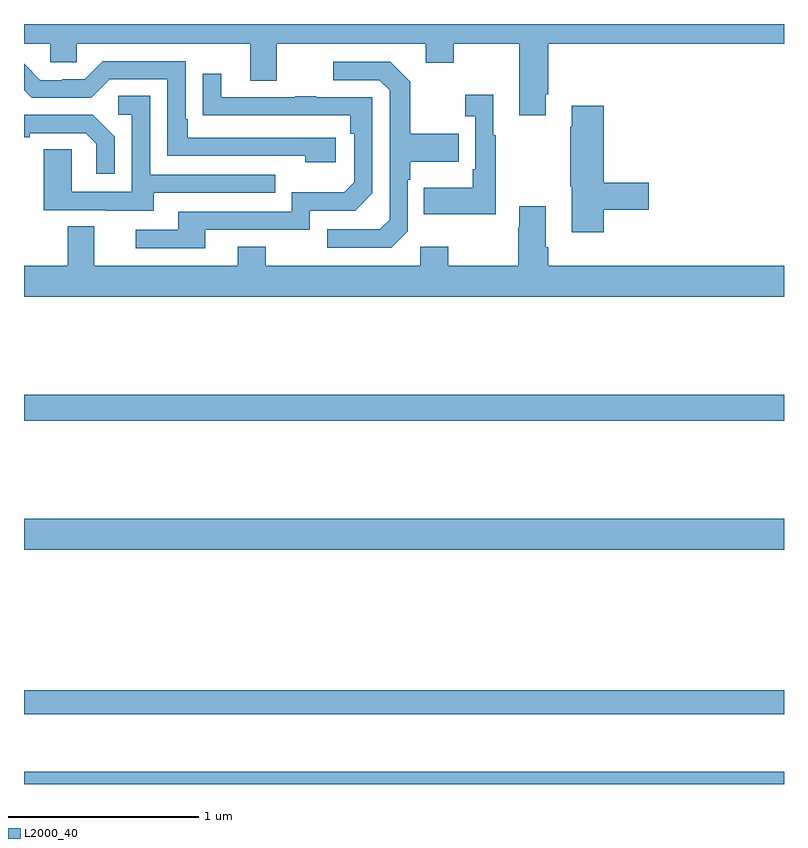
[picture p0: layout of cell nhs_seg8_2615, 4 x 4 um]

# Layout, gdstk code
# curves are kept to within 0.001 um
import gdstk
lib = gdstk.Library(unit=1e-6, precision=1e-09)
def R(c, l, rs):  # rectangles x0, y0, x1, y1
    for r in rs: c.add(gdstk.rectangle(r[:2], r[2:], *l))
def P(c, l, *ps):  # polygons
    for p in ps: c.add(gdstk.Polygon(p, *l))
L2000_40 = (2000, 40)

nhs_seg8_2615 = lib.new_cell('nhs_seg8_2615')
R(nhs_seg8_2615, L2000_40, [(275,1149.9,279,1149.964), (275,1150.266,279,1150.394), (275,1151.132,279,1151.296), (275,1151.812,279,1151.948)])
P(nhs_seg8_2615, L2000_40, [(277.747,1153.531),(277.76,1153.531),(277.76,1153.796),(279,1153.796),(279,1153.9),(275,1153.9),(275,1153.796),(275.139,1153.796),(275.139,1153.698),(275.277,1153.698),(275.277,1153.796),(276.191,1153.796),(276.191,1153.602),(276.331,1153.602),(276.331,1153.796),(277.115,1153.796),(277.115,1153.697),(277.263,1153.697),(277.263,1153.796),(277.607,1153.796),(277.607,1153.419),(277.747,1153.419)],
  [(276.64,1153.302),(275.863,1153.302),(275.863,1153.399),(275.85,1153.399),(275.85,1153.704),(275.415,1153.704),(275.319,1153.608),(275.201,1153.608),(275.201,1153.605),(275.085,1153.605),(275,1153.69),(275,1153.552),(275.04,1153.512),(275.355,1153.512),(275.451,1153.608),(275.754,1153.608),(275.754,1153.206),(276.479,1153.206),(276.479,1153.172),(276.64,1153.172)],
  [(277.02,1152.81),(277.02,1153.079),(277.033,1153.079),(277.033,1153.175),(277.289,1153.175),(277.289,1153.323),(277.033,1153.323),(277.033,1153.595),(276.927,1153.701),(276.627,1153.701),(276.627,1153.605),(276.87,1153.605),(276.924,1153.551),(276.924,1152.87),(276.873,1152.819),(276.597,1152.819),(276.597,1152.723),(276.933,1152.723)],
  [(275.953,1152.816),(276.504,1152.816),(276.504,1152.918),(276.744,1152.918),(276.834,1153.008),(276.834,1153.515),(276.539,1153.515),(276.539,1153.52),(276.427,1153.52),(276.427,1153.515),(276.037,1153.515),(276.037,1153.639),(275.941,1153.639),(275.941,1153.42),(276.718,1153.419),(276.718,1153.322),(276.738,1153.322),(276.738,1153.068),(276.685,1153.015),(276.408,1153.015),(276.408,1152.912),(275.813,1152.912),(275.813,1152.816),(275.589,1152.816),(275.589,1152.72),(275.953,1152.72)],
  [(277.483,1153.315),(277.471,1153.315),(277.471,1153.528),(277.323,1153.528),(277.323,1153.415),(277.374,1153.415),(277.374,1153.135),(277.362,1153.135),(277.362,1153.039),(277.105,1153.039),(277.105,1152.899),(277.483,1152.899)],
  [(275.683,1153.011),(276.323,1153.011),(276.323,1153.107),(275.664,1153.107),(275.664,1153.523),(275.496,1153.523),(275.496,1153.422),(275.568,1153.422),(275.568,1153.017),(275.25,1153.017),(275.25,1153.241),(275.105,1153.241),(275.105,1152.921),(275.429,1152.921),(275.429,1152.917),(275.683,1152.917)],
  [(278.051,1152.922),(278.287,1152.922),(278.287,1153.064),(278.051,1153.064),(278.051,1153.471),(277.883,1153.471),(277.883,1153.358),(277.876,1153.358),(277.876,1153.047),(277.883,1153.047),(277.883,1152.804),(278.051,1152.804)],
  [(275.478,1153.306),(275.362,1153.422),(275,1153.422),(275,1153.304),(275.029,1153.304),(275.029,1153.326),(275.324,1153.326),(275.381,1153.269),(275.381,1153.113),(275.478,1153.113)],
  [(279,1152.628),(277.76,1152.628),(277.76,1152.724),(277.747,1152.724),(277.747,1152.94),(277.607,1152.94),(277.607,1152.827),(277.6,1152.827),(277.6,1152.628),(277.233,1152.628),(277.233,1152.727),(277.086,1152.727),(277.086,1152.628),(276.273,1152.628),(276.273,1152.727),(276.125,1152.727),(276.125,1152.628),(275.371,1152.628),(275.371,1152.836),(275.231,1152.836),(275.231,1152.628),(275,1152.628),(275,1152.464),(279,1152.464)])

lib.write_gds('nhs_seg8_2615.gds')
